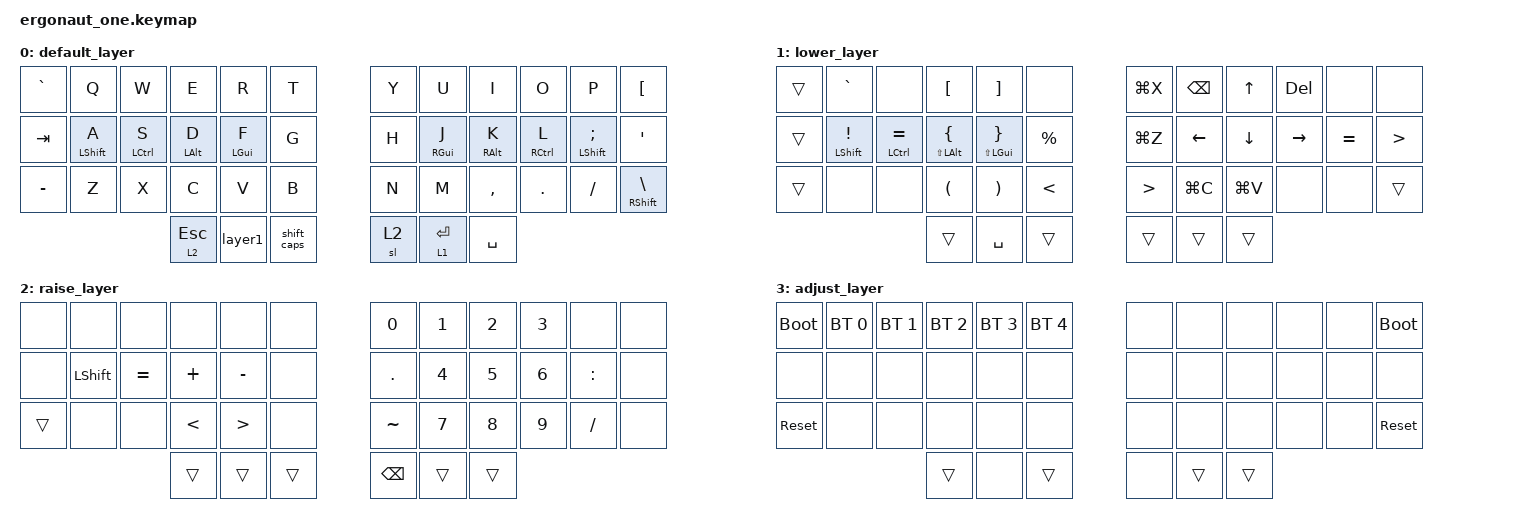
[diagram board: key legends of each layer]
#include <behaviors.dtsi>
#include <dt-bindings/zmk/bt.h>
#include <dt-bindings/zmk/keys.h>

#define DEF 0
#define LWR 1
#define RSE 2
#define ADJ 3

&lt { quick-tap-ms = <200>; };

&mt {
    quick-tap-ms = <200>;
    flavor = "balanced";
    require-prior-idle-ms = <200>;
};

/ {
    conditional_layers {
        compatible = "zmk,conditional-layers";

        tri-layer {
            if-layers = <1 2>;
            then-layer = <3>;
        };
    };

    behaviors {
        shift_caps: shift_caps {
            compatible = "zmk,behavior-tap-dance";
            label = "SHIFT_CAPS";
            #binding-cells = <0>;
            bindings = <&sk LEFT_SHIFT>, <&caps_word>;
        };

        layer1: layer1 {
            compatible = "zmk,behavior-tap-dance";
            label = "LAYER1";
            #binding-cells = <0>;
            bindings = <&mo 1>, <&tog 1>;
        };
    };

    keymap {
        compatible = "zmk,keymap";

        default_layer {
            bindings = <
&kp GRAVE  &kp Q             &kp W               &kp E           &kp R           &kp T        &kp Y  &kp U            &kp I            &kp O                &kp P                     &kp LEFT_BRACKET
&kp TAB    &mt LEFT_SHIFT A  &mt LEFT_CONTROL S  &mt LEFT_ALT D  &mt LEFT_GUI F  &kp G        &kp H  &mt RIGHT_GUI J  &mt RIGHT_ALT K  &mt RIGHT_CONTROL L  &mt LEFT_SHIFT SEMICOLON  &kp SQT
&kp MINUS  &kp Z             &kp X               &kp C           &kp V           &kp B        &kp N  &kp M            &kp COMMA        &kp DOT              &kp FSLH                  &mt RIGHT_SHIFT BSLH
                                                 &lt 2 ESCAPE    &layer1         &shift_caps  &sl 2  &lt 1 ENTER      &kp SPACE
            >;
        };

        lower_layer {
            bindings = <
&trans  &kp GRAVE            &none            &kp LEFT_BRACKET             &kp RIGHT_BRACKET             &none          &kp LG(X)         &kp BACKSPACE   &kp UP_ARROW    &kp DELETE       &none      &none
&trans  &mt LEFT_SHIFT EXCL  &mt LCTRL EQUAL  &mt LS(LEFT_ALT) LEFT_BRACE  &mt LS(LEFT_GUI) RIGHT_BRACE  &kp PRCNT      &kp LG(Z)         &kp LEFT_ARROW  &kp DOWN_ARROW  &kp RIGHT_ARROW  &kp EQUAL  &kp GREATER_THAN
&trans  &none                &none            &kp LEFT_PARENTHESIS         &kp RIGHT_PARENTHESIS         &kp LESS_THAN  &kp GREATER_THAN  &kp LG(C)       &kp LG(V)       &none            &none      &trans
                                              &trans                       &kp SPACE                     &trans         &trans            &trans          &trans
            >;
        };

        raise_layer {
            bindings = <
&none   &none           &none      &none          &none             &none   &kp NUMBER_0   &kp NUMBER_1  &kp NUMBER_2  &kp NUMBER_3  &none      &none
&none   &kp LEFT_SHIFT  &kp EQUAL  &kp PLUS       &kp MINUS         &none   &kp DOT        &kp NUMBER_4  &kp NUMBER_5  &kp NUMBER_6  &kp COLON  &none
&trans  &none           &none      &kp LESS_THAN  &kp GREATER_THAN  &none   &kp TILDE      &kp NUMBER_7  &kp NUMBER_8  &kp NUMBER_9  &kp SLASH  &none
                                   &trans         &trans            &trans  &kp BACKSPACE  &trans        &trans
            >;
        };

        adjust_layer {
            bindings = <
&bootloader  &bt BT_SEL 0  &bt BT_SEL 1  &bt BT_SEL 2  &bt BT_SEL 3  &bt BT_SEL 4  &none  &none   &none   &none  &none  &bootloader
&none        &none         &none         &none         &none         &none         &none  &none   &none   &none  &none  &none
&sys_reset   &none         &none         &none         &none         &none         &none  &none   &none   &none  &none  &sys_reset
                                         &trans        &none         &trans        &none  &trans  &trans
            >;
        };
    };
};
